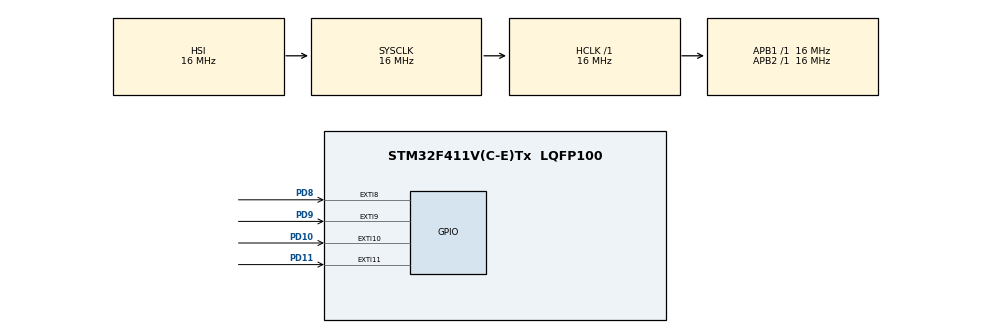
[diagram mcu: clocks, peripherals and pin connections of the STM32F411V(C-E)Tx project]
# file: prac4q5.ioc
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Mcu.Family=STM32F4
Mcu.Name=STM32F411V(C-E)Tx
Mcu.Package=LQFP100
NVIC.EXTI15_10_IRQn=true\:1\:0\:true\:false\:true\:true\:true
NVIC.EXTI9_5_IRQn=true\:1\:0\:true\:false\:true\:true\:true
NVIC.PriorityGroup=NVIC_PRIORITYGROUP_4
PD10.GPIO_ModeDefaultEXTI=GPIO_MODE_IT_RISING_FALLING
PD10.Signal=GPXTI10
PD11.GPIO_ModeDefaultEXTI=GPIO_MODE_IT_RISING_FALLING
PD11.Signal=GPXTI11
PD8.GPIO_ModeDefaultEXTI=GPIO_MODE_IT_RISING_FALLING
PD8.Signal=GPXTI8
PD9.GPIO_ModeDefaultEXTI=GPIO_MODE_IT_RISING_FALLING
PD9.Signal=GPXTI9
ProjectManager.HeapSize=0x200
ProjectManager.StackSize=0x400
ProjectManager.TargetToolchain=STM32CubeIDE
RCC.AHBFreq_Value=16000000
RCC.APB1Freq_Value=16000000
RCC.APB2Freq_Value=16000000
RCC.CortexFreq_Value=16000000
RCC.HSE_VALUE=25000000
RCC.HSI_VALUE=16000000
RCC.LSE_VALUE=32768
RCC.SYSCLKFreq_VALUE=16000000
RCC.VCOOutputFreq_Value=192000000
board=custom

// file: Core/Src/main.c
/* USER CODE BEGIN Header */
/**
  ******************************************************************************
  * @file           : main.c
  * @brief          : Main program body
  ******************************************************************************
  * @attention
  *
  * <h2><center>&copy; Copyright (c) 2020 STMicroelectronics.
  * All rights reserved.</center></h2>
  *
  * This software component is licensed by ST under BSD 3-Clause license,
  * the "License"; You may not use this file except in compliance with the
  * License. You may obtain a copy of the License at:
  *                        opensource.org/licenses/BSD-3-Clause
  *
  ******************************************************************************
  */
/* USER CODE END Header */

#include "main.h"

/* USER CODE BEGIN Includes */
#include "Sprites.h"
/* USER CODE END Includes */

/* USER CODE BEGIN PD */
#define Screen_Start (unsigned char*)0x20020000
/* USER CODE END PD */

/* USER CODE BEGIN PV */
unsigned int moveDirection[4] = {0}; // up, right, left, down
/* USER CODE END PV */

void SystemClock_Config(void);
static void MX_GPIO_Init(void);
/* USER CODE BEGIN PFP */
void BitBlit(unsigned char* ptr_screen, unsigned char* ptr_sprite, int x, int y, int sprite_w, int sprite_h);
unsigned int isMoving(unsigned int direction[]);
void MoveSprite(unsigned int direction[], int* x, int* y);
void ClearScreen(unsigned char* ptr_screen, unsigned char colour);
/* USER CODE END PFP */

/* USER CODE BEGIN 0 */
void HAL_GPIO_EXTI_Callback(uint16_t GPIO_Pin)
{
  /* Prevent unused argument(s) compilation warning */
  UNUSED(GPIO_Pin);
  /* NOTE: This function Should not be modified, when the callback is needed,
           the HAL_GPIO_EXTI_Callback could be implemented in the user file
   */
  if (GPIO_Pin == GPIO_PIN_8) { // Up
	  moveDirection[0] = !moveDirection[0];
  }
  if (GPIO_Pin == GPIO_PIN_9) { // Right
	  moveDirection[1] = !moveDirection[1];
  }
  if (GPIO_Pin == GPIO_PIN_10) { // Left
	  moveDirection[2] = !moveDirection[2];
  }
  if (GPIO_Pin == GPIO_PIN_11) { // Down
	  moveDirection[3] = !moveDirection[3];
  }

}
/* USER CODE END 0 */

int main(void)
{
  /* USER CODE BEGIN 1 */
	uint8_t sprites[1344];
	LDRSprites(sprites);
	int sprite1_x = 100;
	int sprite1_y = 50;
	BitBlit(Screen_Start, FindSprite(sprites, INV2), sprite1_x, sprite1_y, INV2_W, INV2_H);

  /* USER CODE END 1 */

  /* MCU Configuration--------------------------------------------------------*/

  /* Reset of all peripherals, Initializes the Flash interface and the Systick. */
  HAL_Init();

  /* Configure the system clock */
  SystemClock_Config();

  /* Initialize all configured peripherals */
  MX_GPIO_Init();

  /* Infinite loop */
  /* USER CODE BEGIN WHILE */
  while (1)
  {
	  if (isMoving(moveDirection)) {
	  MoveSprite(moveDirection, &sprite1_x, &sprite1_y);
	  ClearScreen(Screen_Start, 0);
	  BitBlit(Screen_Start, FindSprite(sprites, INV2), sprite1_x, sprite1_y, INV2_H, INV2_W);
	  }
    /* USER CODE END WHILE */

  }
}

void SystemClock_Config(void)
{
  RCC_OscInitTypeDef RCC_OscInitStruct = {0};
  RCC_ClkInitTypeDef RCC_ClkInitStruct = {0};

  /** Configure the main internal regulator output voltage
  */
  __HAL_RCC_PWR_CLK_ENABLE();
  __HAL_PWR_VOLTAGESCALING_CONFIG(PWR_REGULATOR_VOLTAGE_SCALE1);
  /** Initializes the CPU, AHB and APB busses clocks
  */
  RCC_OscInitStruct.OscillatorType = RCC_OSCILLATORTYPE_HSI;
  RCC_OscInitStruct.HSIState = RCC_HSI_ON;
  RCC_OscInitStruct.HSICalibrationValue = RCC_HSICALIBRATION_DEFAULT;
  RCC_OscInitStruct.PLL.PLLState = RCC_PLL_NONE;
  if (HAL_RCC_OscConfig(&RCC_OscInitStruct) != HAL_OK)
  {
    Error_Handler();
  }
  /** Initializes the CPU, AHB and APB busses clocks
  */
  RCC_ClkInitStruct.ClockType = RCC_CLOCKTYPE_HCLK|RCC_CLOCKTYPE_SYSCLK
                              |RCC_CLOCKTYPE_PCLK1|RCC_CLOCKTYPE_PCLK2;
  RCC_ClkInitStruct.SYSCLKSource = RCC_SYSCLKSOURCE_HSI;
  RCC_ClkInitStruct.AHBCLKDivider = RCC_SYSCLK_DIV1;
  RCC_ClkInitStruct.APB1CLKDivider = RCC_HCLK_DIV1;
  RCC_ClkInitStruct.APB2CLKDivider = RCC_HCLK_DIV1;

  if (HAL_RCC_ClockConfig(&RCC_ClkInitStruct, FLASH_LATENCY_0) != HAL_OK)
  {
    Error_Handler();
  }
}

static void MX_GPIO_Init(void)
{
  GPIO_InitTypeDef GPIO_InitStruct = {0};

  /* GPIO Ports Clock Enable */
  __HAL_RCC_GPIOD_CLK_ENABLE();

  /*Configure GPIO pins : PD8 PD9 PD10 PD11 */
  GPIO_InitStruct.Pin = GPIO_PIN_8|GPIO_PIN_9|GPIO_PIN_10|GPIO_PIN_11;
  GPIO_InitStruct.Mode = GPIO_MODE_IT_RISING_FALLING;
  GPIO_InitStruct.Pull = GPIO_NOPULL;
  HAL_GPIO_Init(GPIOD, &GPIO_InitStruct);

  /* EXTI interrupt init*/
  HAL_NVIC_SetPriority(EXTI9_5_IRQn, 1, 0);
  HAL_NVIC_EnableIRQ(EXTI9_5_IRQn);

  HAL_NVIC_SetPriority(EXTI15_10_IRQn, 1, 0);
  HAL_NVIC_EnableIRQ(EXTI15_10_IRQn);

}

/* USER CODE BEGIN 4 */
void BitBlit(unsigned char* ptr_screen, unsigned char* ptr_sprite, int x, int y, int sprite_w, int sprite_h){

	unsigned char pixelCol;

	for (int row = 0; row < sprite_h; row++) {
		for (int col = 0; col < sprite_w; col++) {
			 pixelCol = *(ptr_sprite + row * sprite_w + col);
			if (pixelCol != 0) {
				*(ptr_screen + (y + row) * 320 + (x + col)) = pixelCol;
			}
		}
	}

}

unsigned int isMoving(unsigned int direction[]) {
	for (int i = 0; i < 4; i++) {
		if (direction[i]) {
			return 1;
		}
	}
	return 0;
}

void MoveSprite(unsigned int direction[], int* x, int* y) {
	if (direction[0]) { // Up
		*y -= 1;
	}
	else if (direction[3]) { // Down
		*y += 1;
	}
	if (direction[1]) { // Right
		*x += 1;
	}
	else if (direction[2]) { // Left
		*x -= 1;
	}
}

void ClearScreen(unsigned char* ptr_screen, unsigned char colour) {
	for (int row = 0; row < 200; row++) {
		for (int col = 0; col < 320; col++) {
			*(ptr_screen + row*320 + col) = colour;
		}
	}
}
/* USER CODE END 4 */

void Error_Handler(void)
{
}

/************************ (C) COPYRIGHT STMicroelectronics *****END OF FILE****/
